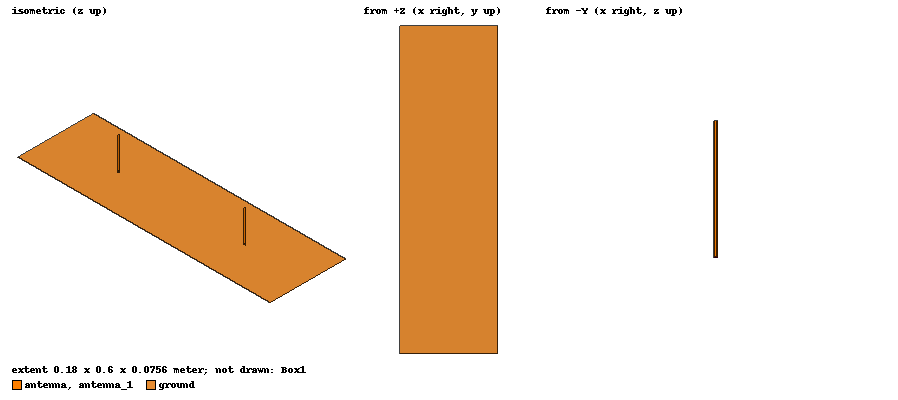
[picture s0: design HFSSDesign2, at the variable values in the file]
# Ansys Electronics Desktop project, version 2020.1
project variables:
  $ddl = 100000
  $d = 10mm
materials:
  vacuum: permittivity=1
  air: permittivity=1 permeability=1 conductivity=$ddl
  glass: permittivity=4.9 dielectric_loss_tangent=0.006
  glass2: permittivity=3.1 dielectric_loss_tangent=0.009
  steel_stainless: conductivity=1100000
  Teflon (tm): permittivity=2.1 dielectric_loss_tangent=0.02
  Al2_O3_ceramic: permittivity=9.8
  cailiao: permittivity=1 permeability=1 conductivity=$ddl
  pec: conductivity=1e+30
  air1: permittivity=1.0006 permeability=1.0000004

design HFSSDesign1 (HFSS, DrivenModal, model units mm)
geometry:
  neiqiang [cailiao] = box(corner=(0mm, 0mm, 0mm), size=(620mm, 920mm, 650mm))
  bolipan [glass] = cone(axis=Z, base_centre=(350mm, 350mm, 10mm), bottom_radius=150mm, top_radius=200mm, height=5mm)
  zhuanhuan [glass2] = cylinder(axis=Z, base_centre=(350mm, 350mm, 8mm), radius=130mm, height=2mm)
  zhuanzhou [glass2] = cylinder(axis=Z, base_centre=(350mm, 350mm, 0mm), radius=30mm, height=8mm)
  shiwu [Teflon (tm)] = sphere(centre=(350mm, 350mm, 60mm), radius=45mm)
  neineiqiang [air1] = box(corner=(20mm, 20mm, 20mm), size=(550mm, 880mm, 600mm))
  Rectangle1 [air1] = rectangle(corner=(120mm, 0mm, 50mm), z_size=520.7mm, x_size=385.5mm)
  Rectangle2 = rectangle(corner=(250mm, -570.7mm, 250mm), z_size=54.6mm, x_size=109.2mm)
  Rectangle1.connect(Rectangle2)
  Box1 = box(corner=(359.2mm, -570.7mm, 250mm), size=(-109.2mm, -156.3mm, 54.6mm))
  [bolipan, zhuanhuan, zhuanzhou, shiwu].move(0mm, 0mm, 26mm)
  Rectangle1.unite(Box1)
  Rectangle1.move(0mm, 20mm, 0mm)
  Rectangle1_1 = Rectangle1.copy()
  neiqiang.subtract(Rectangle1_1)
  Box2 [air1] = box(corner=(859.2mm, -707mm, -50mm), size=(-1009.2mm, 2057mm, 800mm))
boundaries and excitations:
  PerfE1: Perfect E Faces=Rectangle1.face(#2591, #2590, #2589, #2592, 4 of 6, 2 of 6, 6 of 6)
  1: Wave Port Faces=Rectangle1.face(3 of 6) NumModes=1 Modes{Mode1{CharImp=Zpi}}
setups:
  Setup1: HfssDriven Frequency=2.45GHz MaxDeltaS=0.02 MaximumPasses=6 MinimumPasses=1 MinimumConvergedPasses=1 PercentRefinement=30 BasisOrder=1 PortAccuracy=2
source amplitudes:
  1:1: 1W 0deg
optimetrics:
  ParametricSetup1: Parametric Sim._Setups=[Setup1]
    sweep $ddl: LIN 50000 150000 10000
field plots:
  Mag_E1: E Field in shiwu on Setup1 : LastAdaptive at Freq=2.45GHz Phase=0deg
  Mag_E2: E Field in neineiqiang on Setup1 : LastAdaptive at Freq=2.45GHz Phase=0deg
  Mag_E3: E Field over Box2.face(+z) on Setup1 : LastAdaptive at Freq=2.45GHz Phase=0deg
  Mag_E4: E Field in Rectangle1 on Setup1 : LastAdaptive at Freq=2.45GHz Phase=0deg
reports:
  S Parameter Plot 1: dB(S(1,1)) vs Freq on Setup1 : LastAdaptive

design HFSSDesign2 (HFSS, DrivenModal, model units meter)
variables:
  wavelenght = 0.3meter
  d_w = wavelenght*0.6
  d_l = wavelenght*2
  antenna_pos = wavelenght*0.5
  antenna_off = wavelenght/500
  antenna_radius = 0.001meter
  antenna_height = wavelenght/4
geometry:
  ground = rectangle(corner=(-d_w/2, -d_l/2, 0meter), x_size=d_w, y_size=d_l)
  antenna [pec] = cylinder(axis=Z, base_centre=(0meter, -antenna_pos, antenna_off), radius=antenna_radius, height=antenna_height)
  port1 = rectangle(corner=(-antenna_radius, -antenna_pos, 0meter), z_size=antenna_off, x_size=antenna_radius*2)
  antenna_1 [pec] = antenna.duplicate_around_axis(axis=Z, angle=180deg, total=2)
  port1_1 = port1.duplicate_around_axis(axis=Z, angle=180deg, total=2)
  Box1 [vacuum] = box(corner=(-0.09meter, -0.3meter, 0meter), size=(0.18meter, 0.6meter, 0.2meter))
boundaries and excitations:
  PerfE1: Perfect E Objects=ground
  Rad1: Radiation Faces=Box1.face(+x, +z, +y, -x, -y)
  1: Lumped Port Objects=port1 Modes{Mode1{IntLine{middle of port1.edge(z opposite corner) -> middle of port1.edge(z at corner)} CharImp=Zpi RenormImp=50ohm}} Impedance=50ohm
  2: Lumped Port Objects=port1_1 Modes{Mode1{IntLine{port1_1.edge(2 of 4) at 0.525 along -> middle of port1_1.edge(4 of 4)} CharImp=Zpi RenormImp=50ohm}} Impedance=50ohm
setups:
  Setup1: HfssDriven Frequency=1GHz MaxDeltaS=0.02 MaximumPasses=10 MinimumPasses=1 MinimumConvergedPasses=1 PercentRefinement=30 BasisOrder=1 PortAccuracy=2
    sweep Sweep: 0.8GHz to 1.2GHz step 0.01GHz; Type=Fast SaveFields
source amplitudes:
  1:1: 1W 0deg
  2:1: 0W 0deg
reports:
  S Parameter Plot 1: dB(S(1,1)) vs Freq on Setup1 : Sweep
  S Parameter Plot 2: dB(S(2,1)) vs Freq on Setup1 : Sweep
